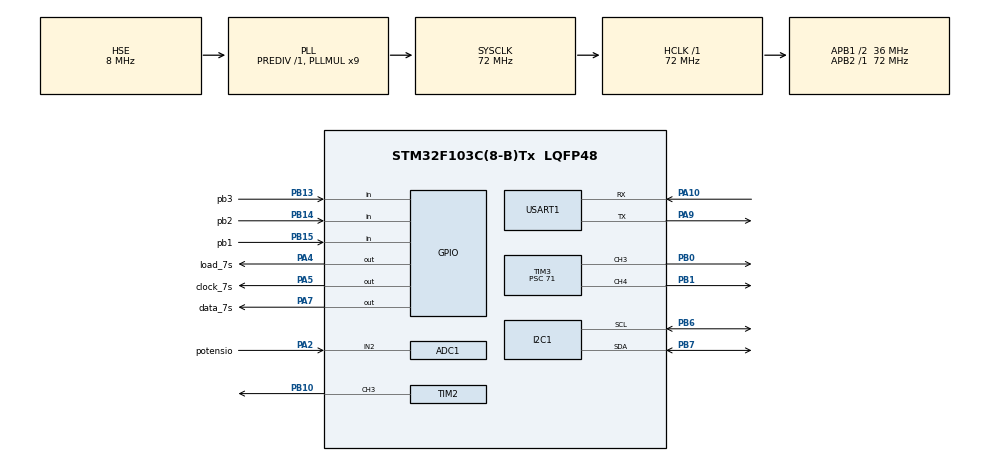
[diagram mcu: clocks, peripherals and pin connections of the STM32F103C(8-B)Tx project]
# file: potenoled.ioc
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ADC1.Channel-0\#ChannelRegularConversion=ADC_CHANNEL_2
ADC1.NbrOfConversion=1
ADC1.NbrOfConversionFlag=1
ADC1.Rank-0\#ChannelRegularConversion=1
ADC1.SamplingTime-0\#ChannelRegularConversion=ADC_SAMPLETIME_55CYCLES_5
ADC1.master=1
Mcu.Family=STM32F1
Mcu.Name=STM32F103C(8-B)Tx
Mcu.Package=LQFP48
NVIC.PriorityGroup=NVIC_PRIORITYGROUP_4
PA10.Mode=Asynchronous
PA10.Signal=USART1_RX
PA13.Mode=Serial_Wire
PA13.Signal=SYS_JTMS-SWDIO
PA14.Mode=Serial_Wire
PA14.Signal=SYS_JTCK-SWCLK
PA2.GPIO_Label=potensio
PA2.Signal=ADCx_IN2
PA4.GPIO_Label=load_7s
PA4.Signal=GPIO_Output
PA5.GPIO_Label=clock_7s
PA5.Signal=GPIO_Output
PA7.GPIO_Label=data_7s
PA7.Signal=GPIO_Output
PA9.Mode=Asynchronous
PA9.Signal=USART1_TX
PB0.Signal=S_TIM3_CH3
PB1.Signal=S_TIM3_CH4
PB10.Signal=S_TIM2_CH3
PB13.GPIO_Label=pb3
PB13.Signal=GPIO_Input
PB14.GPIO_Label=pb2
PB14.Signal=GPIO_Input
PB15.GPIO_Label=pb1
PB15.Signal=GPIO_Input
PB6.Mode=I2C
PB6.Signal=I2C1_SCL
PB7.Mode=I2C
PB7.Signal=I2C1_SDA
PD0-OSC_IN.Mode=HSE-External-Oscillator
PD0-OSC_IN.Signal=RCC_OSC_IN
PD1-OSC_OUT.Mode=HSE-External-Oscillator
PD1-OSC_OUT.Signal=RCC_OSC_OUT
ProjectManager.HeapSize=0x200
ProjectManager.StackSize=0x400
ProjectManager.TargetToolchain=STM32CubeIDE
RCC.ADCPresc=RCC_ADCPCLK2_DIV6
RCC.AHBFreq_Value=72000000
RCC.APB1CLKDivider=RCC_HCLK_DIV2
RCC.APB1Freq_Value=36000000
RCC.APB1TimFreq_Value=72000000
RCC.APB2Freq_Value=72000000
RCC.APB2TimFreq_Value=72000000
RCC.HCLKFreq_Value=72000000
RCC.PLLMUL=RCC_PLL_MUL9
RCC.PLLSourceVirtual=RCC_PLLSOURCE_HSE
RCC.SYSCLKFreq_VALUE=72000000
RCC.SYSCLKSource=RCC_SYSCLKSOURCE_PLLCLK
RCC.USBFreq_Value=72000000
SH.ADCx_IN2.0=ADC1_IN2,IN2
SH.S_TIM2_CH3.0=TIM2_CH3,PWM Generation3 CH3
SH.S_TIM3_CH3.0=TIM3_CH3,PWM Generation3 CH3
SH.S_TIM3_CH4.0=TIM3_CH4,PWM Generation4 CH4
TIM2.AutoReloadPreload=TIM_AUTORELOAD_PRELOAD_ENABLE
TIM2.Channel-PWM\ Generation3\ CH3=TIM_CHANNEL_3
TIM2.Period=999
TIM2.Prescaler=71
TIM3.Channel-PWM\ Generation3\ CH3=TIM_CHANNEL_3
TIM3.Channel-PWM\ Generation4\ CH4=TIM_CHANNEL_4
TIM3.Period=999
TIM3.Prescaler=71
USART1.VirtualMode=VM_ASYNC
VP_TIM2_VS_ClockSourceINT.Mode=Internal
board=custom

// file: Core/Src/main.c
/* USER CODE BEGIN Header */
/**
  ******************************************************************************
  * @file           : main.c
  * @brief          : Main program body
  ******************************************************************************
  * @attention
  *
  * Copyright (c) 2026 STMicroelectronics.
  * All rights reserved.
  *
  * This software is licensed under terms that can be found in the LICENSE file
  * in the root directory of this software component.
  * If no LICENSE file comes with this software, it is provided AS-IS.
  *
  ******************************************************************************
  */
/* USER CODE END Header */
#include "main.h"

/* USER CODE BEGIN Includes */
#include "ssd1306.h"
#include "ssd1306_fonts.h"
#include <stdio.h>
#include <string.h>
/* USER CODE END Includes */

ADC_HandleTypeDef hadc1;

I2C_HandleTypeDef hi2c1;

TIM_HandleTypeDef htim2;
TIM_HandleTypeDef htim3;

UART_HandleTypeDef huart1;

/* USER CODE BEGIN PV */
uint32_t nilaiADC = 0;
float tegangan = 0.0;
uint32_t pwm = 0;
uint8_t kondisiLED = 1;
uint8_t pilihanLED = 1;
char str_tegangan[20];
uint8_t data;
uint32_t waktuKirim = 0;
/* USER CODE END PV */

void SystemClock_Config(void);
static void MX_GPIO_Init(void);
static void MX_ADC1_Init(void);
static void MX_I2C1_Init(void);
static void MX_TIM2_Init(void);
static void MX_USART1_UART_Init(void);
static void MX_TIM3_Init(void);

int main(void)
{

  /* MCU Configuration--------------------------------------------------------*/

  /* Reset of all peripherals, Initializes the Flash interface and the Systick. */
  HAL_Init();

  /* Configure the system clock */
  SystemClock_Config();

  /* Initialize all configured peripherals */
  MX_GPIO_Init();
  MX_ADC1_Init();
  MX_I2C1_Init();
  MX_TIM2_Init();
  MX_USART1_UART_Init();
  MX_TIM3_Init();
  /* USER CODE BEGIN 2 */
  HAL_ADCEx_Calibration_Start(&hadc1);
  HAL_TIM_PWM_Start(&htim3, TIM_CHANNEL_4);
  __HAL_TIM_SET_COMPARE(&htim3, TIM_CHANNEL_4, 0);
  ssd1306_Init();
  /* USER CODE END 2 */

  /* Infinite loop */
  /* USER CODE BEGIN WHILE */
  while (1)
  {
	  HAL_ADC_Start(&hadc1);
	 //	  HAL_TIM_PWM_Start(&htim2, TIM_CHANNEL_1);

	 	      if (HAL_ADC_PollForConversion(&hadc1, 10) == HAL_OK)
	 	      {
	 	          nilaiADC = HAL_ADC_GetValue(&hadc1);
	 	      }
	 	      HAL_ADC_Stop(&hadc1);

	 	      tegangan = (float)nilaiADC * 3.3f / 4095.0f;
	 	      pwm = (nilaiADC * 999UL) / 4095UL;

	 	      if (HAL_UART_Receive(&huart1, &data, 1, 1) == HAL_OK)
	 	      {
	 	    	  if (data == '1')
	 	    	  {
	 	    		  kondisiLED = 1;
	 	    	  }
	 	    	  else if (data == '0')
	 	    	  {
	 	    		  kondisiLED = 0;
	 	    	  }
	 	      }

	 	      if (HAL_GetTick() - waktuKirim >= 100)
	 	      {
	 	    	  waktuKirim = HAL_GetTick();

	 	    	  sprintf(str_tegangan, "%.2f", tegangan);
	 	    	  HAL_UART_Transmit(&huart1, (uint8_t*)str_tegangan,
	 	    			  strlen(str_tegangan), 100);

	 	    	  HAL_UART_Transmit(&huart1, (uint8_t*)"\r\n", 2, 100);
	 	      }

	 	      if(kondisiLED == 1){
	 	    	  if (HAL_GPIO_ReadPin(pb1_GPIO_Port, pb1_Pin) == 0)
	 	    	  {
	 	    		  pilihanLED = 1;
	 	    	  }

	 	    	  else if (HAL_GPIO_ReadPin(pb2_GPIO_Port, pb2_Pin) == 0)
	 	    	  {
	 	    		  pilihanLED = 2;
	 	    	  }

	 	    	  else if (HAL_GPIO_ReadPin(pb3_GPIO_Port, pb3_Pin) == 0)
	 	    	  {
	 	    		  pilihanLED = 3;
	 	    	  }

	 	    	  if (pilihanLED == 1)
	 	    	  {
	 	    		  pilihanLED = 1;
	 	    		  __HAL_TIM_SET_COMPARE(&htim3, TIM_CHANNEL_3, 0);
	 	    		  __HAL_TIM_SET_COMPARE(&htim3, TIM_CHANNEL_4, 0);
	 	    		  __HAL_TIM_SET_COMPARE(&htim2, TIM_CHANNEL_3, pwm);
	 	    	  }

	 	    	  else if (pilihanLED == 2)
	 	    	  {
	 	    		  pilihanLED = 2;
	 	    		  __HAL_TIM_SET_COMPARE(&htim3, TIM_CHANNEL_3, pwm);
	 	    		  __HAL_TIM_SET_COMPARE(&htim3, TIM_CHANNEL_4, 0);
	 	    		  __HAL_TIM_SET_COMPARE(&htim2, TIM_CHANNEL_3, 0);
	 	    	  }

	 	    	  else if (pilihanLED == 3)
	 	    	  {
	 	    		  pilihanLED = 3;
	 	    		  __HAL_TIM_SET_COMPARE(&htim3, TIM_CHANNEL_3, 0);
	 	    		  __HAL_TIM_SET_COMPARE(&htim3, TIM_CHANNEL_4, pwm);
	 	    		  __HAL_TIM_SET_COMPARE(&htim2, TIM_CHANNEL_3, 0);
	 	    	  }
	 	      }
	 	      else if(kondisiLED == 0){
	 	    	  __HAL_TIM_SET_COMPARE(&htim3, TIM_CHANNEL_3, 0);
	 	    	  __HAL_TIM_SET_COMPARE(&htim3, TIM_CHANNEL_4, 0);
	 	    	  __HAL_TIM_SET_COMPARE(&htim2, TIM_CHANNEL_3, 0);
	 	      }

	 	      HAL_Delay(10);
	 	      sprintf(str_tegangan,"%.2f",tegangan);
	 	      ssd1306_Fill(Black);
	 	      ssd1306_SetCursor(10, 10);
	 	      ssd1306_WriteString("Potensiometer", Font_7x10, White);
	 	      ssd1306_SetCursor(10, 30);
	 	      ssd1306_WriteString(str_tegangan, Font_11x18, White);
	 	      ssd1306_UpdateScreen();
    /* USER CODE END WHILE */

  }
}

void SystemClock_Config(void)
{
  RCC_OscInitTypeDef RCC_OscInitStruct = {0};
  RCC_ClkInitTypeDef RCC_ClkInitStruct = {0};
  RCC_PeriphCLKInitTypeDef PeriphClkInit = {0};

  /** Initializes the RCC Oscillators according to the specified parameters
  * in the RCC_OscInitTypeDef structure.
  */
  RCC_OscInitStruct.OscillatorType = RCC_OSCILLATORTYPE_HSE;
  RCC_OscInitStruct.HSEState = RCC_HSE_ON;
  RCC_OscInitStruct.HSEPredivValue = RCC_HSE_PREDIV_DIV1;
  RCC_OscInitStruct.HSIState = RCC_HSI_ON;
  RCC_OscInitStruct.PLL.PLLState = RCC_PLL_ON;
  RCC_OscInitStruct.PLL.PLLSource = RCC_PLLSOURCE_HSE;
  RCC_OscInitStruct.PLL.PLLMUL = RCC_PLL_MUL9;
  if (HAL_RCC_OscConfig(&RCC_OscInitStruct) != HAL_OK)
  {
    Error_Handler();
  }

  /** Initializes the CPU, AHB and APB buses clocks
  */
  RCC_ClkInitStruct.ClockType = RCC_CLOCKTYPE_HCLK|RCC_CLOCKTYPE_SYSCLK
                              |RCC_CLOCKTYPE_PCLK1|RCC_CLOCKTYPE_PCLK2;
  RCC_ClkInitStruct.SYSCLKSource = RCC_SYSCLKSOURCE_PLLCLK;
  RCC_ClkInitStruct.AHBCLKDivider = RCC_SYSCLK_DIV1;
  RCC_ClkInitStruct.APB1CLKDivider = RCC_HCLK_DIV2;
  RCC_ClkInitStruct.APB2CLKDivider = RCC_HCLK_DIV1;

  if (HAL_RCC_ClockConfig(&RCC_ClkInitStruct, FLASH_LATENCY_2) != HAL_OK)
  {
    Error_Handler();
  }
  PeriphClkInit.PeriphClockSelection = RCC_PERIPHCLK_ADC;
  PeriphClkInit.AdcClockSelection = RCC_ADCPCLK2_DIV6;
  if (HAL_RCCEx_PeriphCLKConfig(&PeriphClkInit) != HAL_OK)
  {
    Error_Handler();
  }
}

static void MX_ADC1_Init(void)
{

  ADC_ChannelConfTypeDef sConfig = {0};

  /** Common config
  */
  hadc1.Instance = ADC1;
  hadc1.Init.ScanConvMode = ADC_SCAN_DISABLE;
  hadc1.Init.ContinuousConvMode = DISABLE;
  hadc1.Init.DiscontinuousConvMode = DISABLE;
  hadc1.Init.ExternalTrigConv = ADC_SOFTWARE_START;
  hadc1.Init.DataAlign = ADC_DATAALIGN_RIGHT;
  hadc1.Init.NbrOfConversion = 1;
  if (HAL_ADC_Init(&hadc1) != HAL_OK)
  {
    Error_Handler();
  }

  /** Configure Regular Channel
  */
  sConfig.Channel = ADC_CHANNEL_2;
  sConfig.Rank = ADC_REGULAR_RANK_1;
  sConfig.SamplingTime = ADC_SAMPLETIME_55CYCLES_5;
  if (HAL_ADC_ConfigChannel(&hadc1, &sConfig) != HAL_OK)
  {
    Error_Handler();
  }

}

static void MX_I2C1_Init(void)
{

  hi2c1.Instance = I2C1;
  hi2c1.Init.ClockSpeed = 100000;
  hi2c1.Init.DutyCycle = I2C_DUTYCYCLE_2;
  hi2c1.Init.OwnAddress1 = 0;
  hi2c1.Init.AddressingMode = I2C_ADDRESSINGMODE_7BIT;
  hi2c1.Init.DualAddressMode = I2C_DUALADDRESS_DISABLE;
  hi2c1.Init.OwnAddress2 = 0;
  hi2c1.Init.GeneralCallMode = I2C_GENERALCALL_DISABLE;
  hi2c1.Init.NoStretchMode = I2C_NOSTRETCH_DISABLE;
  if (HAL_I2C_Init(&hi2c1) != HAL_OK)
  {
    Error_Handler();
  }

}

static void MX_TIM2_Init(void)
{

  TIM_ClockConfigTypeDef sClockSourceConfig = {0};
  TIM_MasterConfigTypeDef sMasterConfig = {0};
  TIM_OC_InitTypeDef sConfigOC = {0};

  htim2.Instance = TIM2;
  htim2.Init.Prescaler = 71;
  htim2.Init.CounterMode = TIM_COUNTERMODE_UP;
  htim2.Init.Period = 999;
  htim2.Init.ClockDivision = TIM_CLOCKDIVISION_DIV1;
  htim2.Init.AutoReloadPreload = TIM_AUTORELOAD_PRELOAD_ENABLE;
  if (HAL_TIM_Base_Init(&htim2) != HAL_OK)
  {
    Error_Handler();
  }
  sClockSourceConfig.ClockSource = TIM_CLOCKSOURCE_INTERNAL;
  if (HAL_TIM_ConfigClockSource(&htim2, &sClockSourceConfig) != HAL_OK)
  {
    Error_Handler();
  }
  if (HAL_TIM_PWM_Init(&htim2) != HAL_OK)
  {
    Error_Handler();
  }
  sMasterConfig.MasterOutputTrigger = TIM_TRGO_RESET;
  sMasterConfig.MasterSlaveMode = TIM_MASTERSLAVEMODE_DISABLE;
  if (HAL_TIMEx_MasterConfigSynchronization(&htim2, &sMasterConfig) != HAL_OK)
  {
    Error_Handler();
  }
  sConfigOC.OCMode = TIM_OCMODE_PWM1;
  sConfigOC.Pulse = 0;
  sConfigOC.OCPolarity = TIM_OCPOLARITY_HIGH;
  sConfigOC.OCFastMode = TIM_OCFAST_DISABLE;
  if (HAL_TIM_PWM_ConfigChannel(&htim2, &sConfigOC, TIM_CHANNEL_3) != HAL_OK)
  {
    Error_Handler();
  }
  HAL_TIM_MspPostInit(&htim2);

}

static void MX_TIM3_Init(void)
{

  TIM_MasterConfigTypeDef sMasterConfig = {0};
  TIM_OC_InitTypeDef sConfigOC = {0};

  htim3.Instance = TIM3;
  htim3.Init.Prescaler = 71;
  htim3.Init.CounterMode = TIM_COUNTERMODE_UP;
  htim3.Init.Period = 999;
  htim3.Init.ClockDivision = TIM_CLOCKDIVISION_DIV1;
  htim3.Init.AutoReloadPreload = TIM_AUTORELOAD_PRELOAD_DISABLE;
  if (HAL_TIM_PWM_Init(&htim3) != HAL_OK)
  {
    Error_Handler();
  }
  sMasterConfig.MasterOutputTrigger = TIM_TRGO_RESET;
  sMasterConfig.MasterSlaveMode = TIM_MASTERSLAVEMODE_DISABLE;
  if (HAL_TIMEx_MasterConfigSynchronization(&htim3, &sMasterConfig) != HAL_OK)
  {
    Error_Handler();
  }
  sConfigOC.OCMode = TIM_OCMODE_PWM1;
  sConfigOC.Pulse = 0;
  sConfigOC.OCPolarity = TIM_OCPOLARITY_HIGH;
  sConfigOC.OCFastMode = TIM_OCFAST_DISABLE;
  if (HAL_TIM_PWM_ConfigChannel(&htim3, &sConfigOC, TIM_CHANNEL_3) != HAL_OK)
  {
    Error_Handler();
  }
  if (HAL_TIM_PWM_ConfigChannel(&htim3, &sConfigOC, TIM_CHANNEL_4) != HAL_OK)
  {
    Error_Handler();
  }
  HAL_TIM_MspPostInit(&htim3);

}

static void MX_USART1_UART_Init(void)
{

  huart1.Instance = USART1;
  huart1.Init.BaudRate = 115200;
  huart1.Init.WordLength = UART_WORDLENGTH_8B;
  huart1.Init.StopBits = UART_STOPBITS_1;
  huart1.Init.Parity = UART_PARITY_NONE;
  huart1.Init.Mode = UART_MODE_TX_RX;
  huart1.Init.HwFlowCtl = UART_HWCONTROL_NONE;
  huart1.Init.OverSampling = UART_OVERSAMPLING_16;
  if (HAL_UART_Init(&huart1) != HAL_OK)
  {
    Error_Handler();
  }

}

static void MX_GPIO_Init(void)
{
  GPIO_InitTypeDef GPIO_InitStruct = {0};

  /* GPIO Ports Clock Enable */
  __HAL_RCC_GPIOD_CLK_ENABLE();
  __HAL_RCC_GPIOA_CLK_ENABLE();
  __HAL_RCC_GPIOB_CLK_ENABLE();

  /*Configure GPIO pin Output Level */
  HAL_GPIO_WritePin(GPIOA, load_7s_Pin|clock_7s_Pin|data_7s_Pin, GPIO_PIN_RESET);

  /*Configure GPIO pins : load_7s_Pin clock_7s_Pin data_7s_Pin */
  GPIO_InitStruct.Pin = load_7s_Pin|clock_7s_Pin|data_7s_Pin;
  GPIO_InitStruct.Mode = GPIO_MODE_OUTPUT_PP;
  GPIO_InitStruct.Pull = GPIO_NOPULL;
  GPIO_InitStruct.Speed = GPIO_SPEED_FREQ_LOW;
  HAL_GPIO_Init(GPIOA, &GPIO_InitStruct);

  /*Configure GPIO pins : pb3_Pin pb2_Pin pb1_Pin */
  GPIO_InitStruct.Pin = pb3_Pin|pb2_Pin|pb1_Pin;
  GPIO_InitStruct.Mode = GPIO_MODE_INPUT;
  GPIO_InitStruct.Pull = GPIO_NOPULL;
  HAL_GPIO_Init(GPIOB, &GPIO_InitStruct);

}

void Error_Handler(void)
{
  __disable_irq();
  while (1)
  {
  }
}
